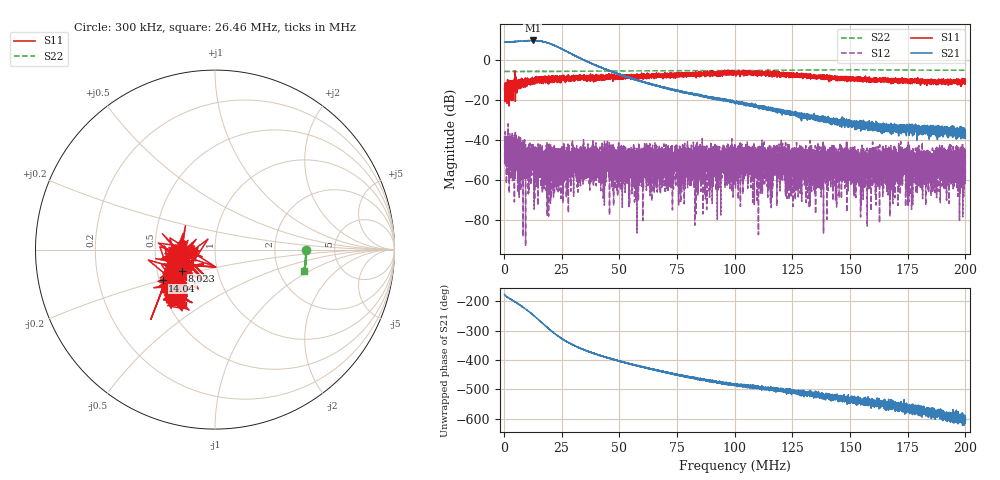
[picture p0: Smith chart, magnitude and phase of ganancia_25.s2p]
# Hz S DB R 50
! CMT, M5065, 19127446, 24.2.4/2
! Date: 11/8/2024 5:08:11 PM
! Data: Format (Calibration Info)
! Freq	S11:dB/Ang(F2)	S21:dB/Ang(F2)	S12:dB/Ang(F2)	S22:dB/Ang(F2)
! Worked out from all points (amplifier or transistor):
!   9000 points, 300 kHz to 200 MHz, reference 50 ohm
!   highest |S21| = 9.6 dB at 12.46 MHz (marker M1)
!   |S21| within 3 dB of that: start of sweep to 22.85 MHz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
!   unconditionally stable (mu >= 1): start of sweep to end of sweep
!   at 33.59 MHz: K = 223.23, MAG = 2.5 dB, |S12| = -57.6 dB
!   at 100.2 MHz: K = 2317.51, MAG = -19.0 dB, |S12| = -56.7 dB
!   at 200 MHz: K = 27458.09, MAG = -36.2 dB, |S12| = -60.5 dB
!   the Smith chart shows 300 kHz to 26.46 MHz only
!   S11 on the Smith chart (normalised r, x): 300 kHz: 0.69, +0.04; 8.023 MHz: 0.67, -0.17; 14.04 MHz: 0.52, -0.20; 26.46 MHz: 0.59, -0.42
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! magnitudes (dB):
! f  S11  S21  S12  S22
! 300 kHz  -14.5  8.8  -38.0  -5.9
! 1.343 MHz  -21.8  8.8  -42.5  -5.9
! 8.023 MHz  -13.3  9.3  -43.4  -5.9
! 12.46 MHz  -11.4  9.6  -51.0  -5.9
! 14.04 MHz  -9.4  9.4  -63.2  -5.9
! 26.46 MHz  -9.0  4.6  -46.6  -5.8
! 33.59 MHz  -8.3  0.5  -57.6  -5.8
! 48.54 MHz  -8.1  -6.7  -47.4  -5.7
! 61.5 MHz  -8.3  -11.5  -56.9  -5.6
! 66.87 MHz  -8.7  -13.1  -47.7  -5.5
! 70.14 MHz  -8.3  -14.0  -44.9  -5.5
! 77.64 MHz  -7.8  -16.2  -59.5  -5.5
! 91.28 MHz  -7.0  -19.1  -45.1  -5.5
! 93.08 MHz  -8.2  -19.7  -48.4  -5.5
! 100.2 MHz  -7.4  -21.3  -56.7  -5.4
! 120.8 MHz  -7.6  -25.2  -47.4  -5.3
! 124.9 MHz  -7.5  -26.7  -45.8  -5.2
! 133.4 MHz  -8.0  -28.4  -50.3  -5.2
! 166.7 MHz  -9.2  -34.3  -49.7  -5.1
! 197.8 MHz  -10.9  -34.9  -47.5  -5.2
! 199 MHz  -11.6  -34.1  -48.5  -5.3
! 200 MHz  -10.7  -38.1  -60.5  -5.3
